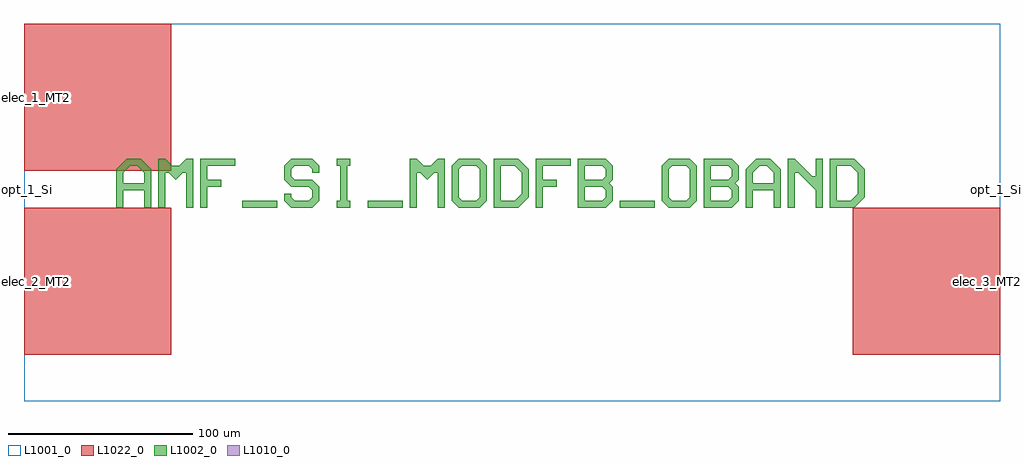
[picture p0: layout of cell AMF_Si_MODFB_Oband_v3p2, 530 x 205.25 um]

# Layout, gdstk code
import gdstk
lib = gdstk.Library(unit=1e-6, precision=1e-09)
def R(c, l, rs):  # rectangles x0, y0, x1, y1
    for r in rs: c.add(gdstk.rectangle(r[:2], r[2:], *l))
def P(c, l, *ps):  # polygons
    for p in ps: c.add(gdstk.Polygon(p, *l))
L1001_0 = (1001, 0)
L1002_0 = (1002, 0)
L1010_0 = (1010, 0)
L1022_0 = (1022, 0)

amf_si_modfb_oband_v3p2 = lib.new_cell('AMF_Si_MODFB_Oband_v3p2')
R(amf_si_modfb_oband_v3p2, L1001_0, [(0,-115.25,530,90)])
R(amf_si_modfb_oband_v3p2, L1002_0, [(118.4,-10,137.4,-6.2), (186.8,-10,205.8,-6.2), (323.6,-10,342.6,-6.2)])
P(amf_si_modfb_oband_v3p2, L1002_0, [(50,-10),(50,10.9),(55.7,16.6),(63.3,16.6),(67.1,12.8),(57.6,12.8),(53.8,9),(53.8,3.3),(65.2,3.3),(65.2,9),(61.4,12.8),(67.1,12.8),(69,10.9),(69,-10),(65.2,-10),(65.2,-0.5),(53.8,-0.5),(53.8,-10)],
  [(72.8,-10),(72.8,16.6),(76.6,16.6),(80.4,12.8),(84.2,12.8),(88,16.6),(91.8,16.6),(91.8,-10),(88,-10),(88,9),(86.1,9),(82.3,5.2),(78.5,9),(76.6,9),(76.6,-10)],
  [(95.6,-10),(95.6,16.6),(114.6,16.6),(114.6,12.8),(99.4,12.8),(99.4,5.2),(107,5.2),(107,1.4),(99.4,1.4),(99.4,-10)],
  [(145,-10),(141.2,-6.2),(141.2,-2.4),(145,-2.4),(145,-4.3),(146.9,-6.2),(154.5,-6.2),(156.4,-4.3),(156.4,-0.5),(154.5,1.4),(145,1.4),(141.2,5.2),(141.2,12.8),(145,16.6),(156.4,16.6),(160.2,12.8),(160.2,9),(156.4,9),(156.4,10.9),(154.5,12.8),(146.9,12.8),(145,10.9),(145,7.1),(146.9,5.2),(156.4,5.2),(160.2,1.4),(160.2,-6.2),(156.4,-10)],
  [(169.7,-10),(169.7,-6.2),(171.6,-6.2),(171.6,12.8),(169.7,12.8),(169.7,16.6),(177.3,16.6),(177.3,12.8),(175.4,12.8),(175.4,-6.2),(177.3,-6.2),(177.3,-10)],
  [(209.6,-10),(209.6,16.6),(213.4,16.6),(217.2,12.8),(221,12.8),(224.8,16.6),(228.6,16.6),(228.6,-10),(224.8,-10),(224.8,9),(222.9,9),(219.1,5.2),(215.3,9),(213.4,9),(213.4,-10)],
  [(236.2,-10),(232.4,-6.2),(232.4,12.8),(236.2,16.6),(247.6,16.6),(251.4,12.8),(251.4,3.3),(247.6,3.3),(247.6,10.9),(245.7,12.8),(238.1,12.8),(236.2,10.9),(236.2,-4.3),(238.1,-6.2),(245.7,-6.2),(247.6,-4.3),(247.6,3.3),(251.4,3.3),(251.4,-6.2),(247.6,-10)],
  [(255.2,-10),(255.2,16.6),(268.5,16.6),(272.3,12.8),(259,12.8),(259,-6.2),(266.6,-6.2),(270.4,-2.4),(270.4,9),(266.6,12.8),(272.3,12.8),(274.2,10.9),(274.2,-4.3),(268.5,-10)],
  [(278,-10),(278,16.6),(297,16.6),(297,12.8),(281.8,12.8),(281.8,5.2),(289.4,5.2),(289.4,1.4),(281.8,1.4),(281.8,-10)],
  [(300.8,-10),(300.8,16.6),(316,16.6),(319.8,12.8),(304.6,12.8),(304.6,5.2),(314.1,5.2),(316,7.1),(316,10.9),(314.1,12.8),(319.8,12.8),(319.8,5.2),(317.9,3.3),(319.8,1.4),(304.6,1.4),(304.6,-6.2),(314.1,-6.2),(316,-4.3),(316,-0.5),(314.1,1.4),(319.8,1.4),(319.8,-6.2),(316,-10)],
  [(350.2,-10),(346.4,-6.2),(346.4,12.8),(350.2,16.6),(361.6,16.6),(365.4,12.8),(365.4,3.3),(361.6,3.3),(361.6,10.9),(359.7,12.8),(352.1,12.8),(350.2,10.9),(350.2,-4.3),(352.1,-6.2),(359.7,-6.2),(361.6,-4.3),(361.6,3.3),(365.4,3.3),(365.4,-6.2),(361.6,-10)],
  [(369.2,-10),(369.2,16.6),(384.4,16.6),(388.2,12.8),(373,12.8),(373,5.2),(382.5,5.2),(384.4,7.1),(384.4,10.9),(382.5,12.8),(388.2,12.8),(388.2,5.2),(386.3,3.3),(388.2,1.4),(373,1.4),(373,-6.2),(382.5,-6.2),(384.4,-4.3),(384.4,-0.5),(382.5,1.4),(388.2,1.4),(388.2,-6.2),(384.4,-10)],
  [(392,-10),(392,10.9),(397.7,16.6),(405.3,16.6),(409.1,12.8),(399.6,12.8),(395.8,9),(395.8,3.3),(407.2,3.3),(407.2,9),(403.4,12.8),(409.1,12.8),(411,10.9),(411,-10),(407.2,-10),(407.2,-0.5),(395.8,-0.5),(395.8,-10)],
  [(414.8,-10),(414.8,16.6),(418.6,16.6),(428.1,7.1),(430,7.1),(430,16.6),(433.8,16.6),(433.8,-10),(430,-10),(430,-0.5),(420.5,9),(418.6,9),(418.6,-10)],
  [(437.6,-10),(437.6,16.6),(450.9,16.6),(454.7,12.8),(441.4,12.8),(441.4,-6.2),(449,-6.2),(452.8,-2.4),(452.8,9),(449,12.8),(454.7,12.8),(456.6,10.9),(456.6,-4.3),(450.9,-10)])
R(amf_si_modfb_oband_v3p2, L1010_0, [(0,-0.205,0.4,0.205), (529.6,-0.205,530,0.205)])
R(amf_si_modfb_oband_v3p2, L1022_0, [(0,-90,80,-10), (450,-90,530,-10), (0,10,80,90)])
amf_si_modfb_oband_v3p2.add(gdstk.Label('opt_1_Si', (0,0), layer=1010, texttype=0))
amf_si_modfb_oband_v3p2.add(gdstk.Label('opt_1_Si', (530,0), layer=1010, texttype=0))
amf_si_modfb_oband_v3p2.add(gdstk.Label('elec_1_MT2', (0,50), layer=1022, texttype=0))
amf_si_modfb_oband_v3p2.add(gdstk.Label('elec_2_MT2', (0,-50), layer=1022, texttype=0))
amf_si_modfb_oband_v3p2.add(gdstk.Label('elec_3_MT2', (530,-50), layer=1022, texttype=0))

lib.write_gds('AMF_Si_MODFB_Oband_v3p2.gds')
